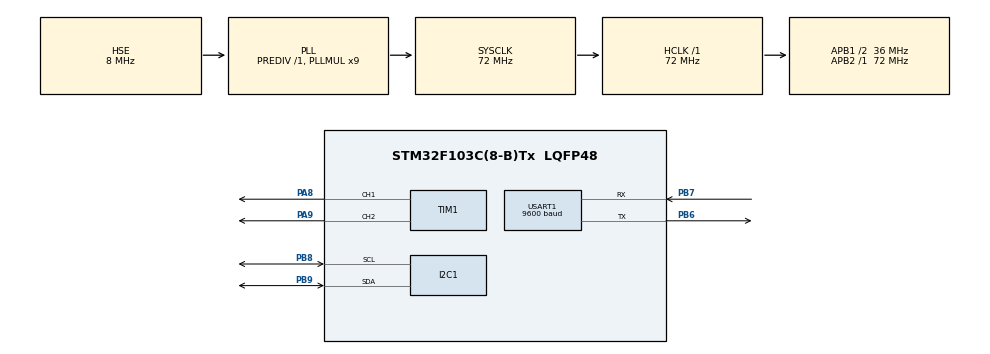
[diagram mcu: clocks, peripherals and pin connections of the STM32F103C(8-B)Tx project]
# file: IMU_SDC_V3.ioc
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I2C1.I2C_Mode=I2C_Fast
Mcu.Family=STM32F1
Mcu.Name=STM32F103C(8-B)Tx
Mcu.Package=LQFP48
NVIC.PriorityGroup=NVIC_PRIORITYGROUP_4
PA13.Mode=Serial_Wire
PA13.Signal=SYS_JTMS-SWDIO
PA14.Mode=Serial_Wire
PA14.Signal=SYS_JTCK-SWCLK
PA8.Signal=S_TIM1_CH1
PA9.Signal=S_TIM1_CH2
PB6.Mode=Asynchronous
PB6.Signal=USART1_TX
PB7.Mode=Asynchronous
PB7.Signal=USART1_RX
PB8.Mode=I2C
PB8.Signal=I2C1_SCL
PB9.Mode=I2C
PB9.Signal=I2C1_SDA
PD0-OSC_IN.Mode=HSE-External-Oscillator
PD0-OSC_IN.Signal=RCC_OSC_IN
PD1-OSC_OUT.Mode=HSE-External-Oscillator
PD1-OSC_OUT.Signal=RCC_OSC_OUT
ProjectManager.HeapSize=0x200
ProjectManager.StackSize=0x400
ProjectManager.TargetToolchain=STM32CubeIDE
RCC.AHBFreq_Value=72000000
RCC.APB1CLKDivider=RCC_HCLK_DIV2
RCC.APB1Freq_Value=36000000
RCC.APB1TimFreq_Value=72000000
RCC.APB2Freq_Value=72000000
RCC.APB2TimFreq_Value=72000000
RCC.HCLKFreq_Value=72000000
RCC.PLLMUL=RCC_PLL_MUL9
RCC.PLLSourceVirtual=RCC_PLLSOURCE_HSE
RCC.SYSCLKFreq_VALUE=72000000
RCC.SYSCLKSource=RCC_SYSCLKSOURCE_PLLCLK
RCC.USBFreq_Value=72000000
SH.S_TIM1_CH1.0=TIM1_CH1,PWM Generation1 CH1
SH.S_TIM1_CH2.0=TIM1_CH2,PWM Generation2 CH2
TIM1.Channel-PWM\ Generation1\ CH1=TIM_CHANNEL_1
TIM1.Channel-PWM\ Generation2\ CH2=TIM_CHANNEL_2
USART1.BaudRate=9600
USART1.VirtualMode=VM_ASYNC
board=custom

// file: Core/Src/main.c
/* USER CODE BEGIN Header */
/**
  ******************************************************************************
  * @file           : main.c
  * @brief          : Main program body
  ******************************************************************************
  * @attention
  *
  * Copyright (c) 2024 STMicroelectronics.
  * All rights reserved.
  *
  * This software is licensed under terms that can be found in the LICENSE file
  * in the root directory of this software component.
  * If no LICENSE file comes with this software, it is provided AS-IS.
  *
  ******************************************************************************
  */
/* USER CODE END Header */
#include "main.h"
#include "i2c.h"
#include "tim.h"
#include "usart.h"
#include "gpio.h"

/* USER CODE BEGIN Includes */
#include "stdio.h"
#include "string.h"
#include "../User_code/IMU_MPU6050/mpu6050.h"
#include "../User_code/Motor/motor.h"
#include "../User_code/PID/pid.h"
#include "../User_code/user_define.h"
#include "../User_code/Serial/serial.h"
//#include "../User_code/PID/pid_t.h"
/* USER CODE END Includes */

/* USER CODE BEGIN PV */
uint8_t buff[10];
float desired_angle = 20.0f;
double current_angle;
double control_signal;
MPU6050_t MPU6050;
Motor_t tmotor;
PID_CONTROL_t tpid;
//PIDController_t tpid;
extern uint8_t urx_buff[MAX_LEN];
extern uint8_t utx_buff[MAX_LEN];
//extern char scmd[4];
extern float dkp;
extern float dki;
extern float dkd;
extern float dset_point;
/* USER CODE END PV */

void SystemClock_Config(void);

int main(void)
{

  /* MCU Configuration--------------------------------------------------------*/

  /* Reset of all peripherals, Initializes the Flash interface and the Systick. */
  HAL_Init();

  /* Configure the system clock */
  SystemClock_Config();

  /* Initialize all configured peripherals */
  MX_GPIO_Init();
  MX_I2C1_Init();
  MX_USART1_UART_Init();
  MX_TIM1_Init();
  /* USER CODE BEGIN 2 */
	motor_init(&tmotor, PPR);
	pid_init(&tpid, ZERO, ZERO, ZERO, PID_CONTROLLER_LIMIT_MAX, PID_CONTROLLER_LIMIT_MIN, SAMPLING_TIME);
	serial_init();
//	PIDController_Init(&tpid, 50, ZERO, ZERO, SAMPLING_TIME);
//	  while (MPU6050_Init(&hi2c1) == 1);

	MPU6050_Init(&hi2c1);
	// Receive data
	serial_handle(urx_buff);
	pid_tunning_set(&tpid, dkp, dki, dkd);
	desired_angle = dset_point;
	pid_tunning_set(&tpid, 5, 0.0001, 0);
  /* USER CODE END 2 */
  /* Infinite loop */
	while (1)
   {

    /* USER CODE BEGIN 3 */

		MPU6050_Read_All(&hi2c1, &MPU6050);
		current_angle = MPU6050.yaw;
		control_signal = pid_compute(&tpid, desired_angle, current_angle);
		motor_set_duty(control_signal);
//      control_signal = PIDController_Compute(&tpid, desired_angle, current_angle, SAMPLING_TIME); // 0.0 as reference value
//	    MPU6050_Read_All(&hi2c1, &MPU6050);
//		sprintf(buff, "%.4f\r\n",);

		sprintf(buff, "%.4f\r\n",control_signal);
		HAL_UART_Transmit( &huart1, buff, sizeof(buff),100);
		HAL_Delay(100);

  }
  /* USER CODE END 3 */
}

void SystemClock_Config(void)
{
  RCC_OscInitTypeDef RCC_OscInitStruct = {0};
  RCC_ClkInitTypeDef RCC_ClkInitStruct = {0};

  /** Initializes the RCC Oscillators according to the specified parameters
  * in the RCC_OscInitTypeDef structure.
  */
  RCC_OscInitStruct.OscillatorType = RCC_OSCILLATORTYPE_HSE;
  RCC_OscInitStruct.HSEState = RCC_HSE_ON;
  RCC_OscInitStruct.HSEPredivValue = RCC_HSE_PREDIV_DIV1;
  RCC_OscInitStruct.HSIState = RCC_HSI_ON;
  RCC_OscInitStruct.PLL.PLLState = RCC_PLL_ON;
  RCC_OscInitStruct.PLL.PLLSource = RCC_PLLSOURCE_HSE;
  RCC_OscInitStruct.PLL.PLLMUL = RCC_PLL_MUL9;
  if (HAL_RCC_OscConfig(&RCC_OscInitStruct) != HAL_OK)
  {
    Error_Handler();
  }

  /** Initializes the CPU, AHB and APB buses clocks
  */
  RCC_ClkInitStruct.ClockType = RCC_CLOCKTYPE_HCLK|RCC_CLOCKTYPE_SYSCLK
                              |RCC_CLOCKTYPE_PCLK1|RCC_CLOCKTYPE_PCLK2;
  RCC_ClkInitStruct.SYSCLKSource = RCC_SYSCLKSOURCE_PLLCLK;
  RCC_ClkInitStruct.AHBCLKDivider = RCC_SYSCLK_DIV1;
  RCC_ClkInitStruct.APB1CLKDivider = RCC_HCLK_DIV2;
  RCC_ClkInitStruct.APB2CLKDivider = RCC_HCLK_DIV1;

  if (HAL_RCC_ClockConfig(&RCC_ClkInitStruct, FLASH_LATENCY_2) != HAL_OK)
  {
    Error_Handler();
  }
}

void Error_Handler(void)
{
  __disable_irq();
  while (1)
  {
  }
}
